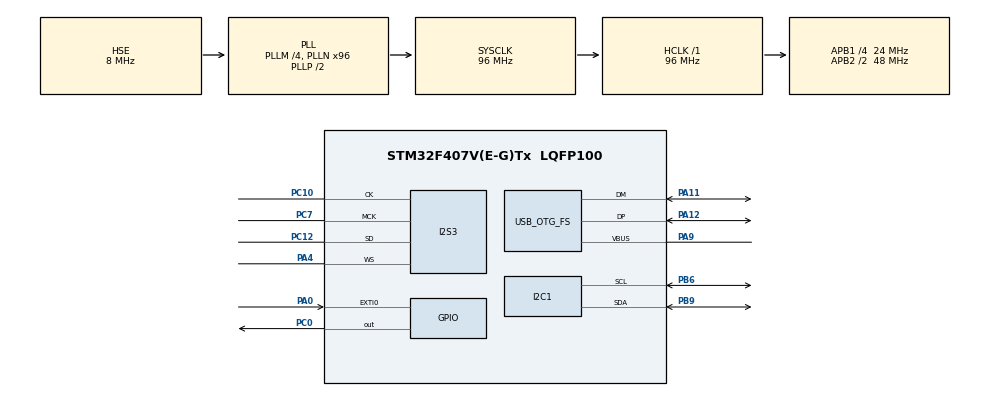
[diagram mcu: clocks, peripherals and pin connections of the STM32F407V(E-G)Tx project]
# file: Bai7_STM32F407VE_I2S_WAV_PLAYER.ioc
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Mcu.Family=STM32F4
Dma.SPI3_TX.0.FIFOMode=DMA_FIFOMODE_ENABLE
Dma.SPI3_TX.0.Priority=DMA_PRIORITY_LOW
Dma.SPI3_TX.0.MemInc=DMA_MINC_ENABLE
PH0-OSC_IN.Signal=RCC_OSC_IN
RCC.CortexFreq_Value=96000000
FATFS._USE_LFN=1
PC10.Signal=I2S3_CK
PC12.Signal=I2S3_SD
PA11.Mode=Host_Only
Dma.SPI3_TX.0.PeriphDataAlignment=DMA_PDATAALIGN_HALFWORD
RCC.SYSCLKSource=RCC_SYSCLKSOURCE_PLLCLK
ProjectManager.StackSize=0x400
Dma.SPI3_TX.0.FIFOThreshold=DMA_FIFO_THRESHOLD_FULL
PA12.Signal=USB_OTG_FS_DP
PA4.Mode=Half_Duplex_Master
RCC.HCLKFreq_Value=96000000
RCC.APB2TimFreq_Value=96000000
PB6.Signal=I2C1_SCL
PC7.Signal=I2S3_MCK
PB6.Mode=I2C
USB_HOST0.BSP.ip=GPIO
Dma.SPI3_TX.0.Direction=DMA_MEMORY_TO_PERIPH
RCC.AHBFreq_Value=96000000
PH0-OSC_IN.Mode=HSE-External-Oscillator
RCC.HSE_VALUE=8000000
USB_OTG_FS.phy_itface=HCD_PHY_EMBEDDED
I2S3.ErrorAudioFreq=0.02 %
PA14.Mode=Serial_Wire
Dma.SPI3_TX.0.MemDataAlignment=DMA_MDATAALIGN_HALFWORD
PH1-OSC_OUT.Mode=HSE-External-Oscillator
USB_HOST0.BSP.i2caddr=0
Mcu.Package=LQFP100
PB9.Signal=I2C1_SDA
NVIC.OTG_FS_IRQn=true\:0\:0\:false\:false\:true\:false\:true
USB_OTG_FS.VirtualMode=Host_Only
USB_HOST0.BSP.name=Drive_VBUS_FS
RCC.APB2CLKDivider=RCC_HCLK_DIV2
RCC.APB1TimFreq_Value=48000000
Dma.Request0=SPI3_TX
I2S3.FullDuplexMode=I2S_FULLDUPLEXMODE_DISABLE
VP_USB_HOST_VS_USB_HOST_MSC_FS.Mode=MSC_FS
USB_HOST0.BSP.solution=PC0
PC10.Mode=Half_Duplex_Master
USB_HOST.BSP.number=1
PC0.Signal=GPIO_Output
RCC.APB1CLKDivider=RCC_HCLK_DIV4
USB_HOST.USBH_HandleTypeDef-MSC_FS=hUsbHostFS
PA0-WKUP.Signal=GPXTI0
USB_HOST0.BSP.STBoard=false
PA13.Signal=SYS_JTMS-SWDIO
Dma.SPI3_TX.0.PeriphBurst=DMA_PBURST_SINGLE
PA9.Mode=Activate_VBUS
ProjectManager.TargetToolchain=MDK-ARM V5
NVIC.DMA1_Stream5_IRQn=true\:0\:0\:false\:false\:true\:false\:true
PB9.Mode=I2C
PA9.Signal=USB_OTG_FS_VBUS
I2S3.VirtualMode=I2S_MODE_MASTER
Dma.SPI3_TX.0.PeriphInc=DMA_PINC_DISABLE
RCC.LSE_VALUE=32768
I2S3.AudioFreq=I2S_AUDIOFREQ_44K
PC12.Mode=Half_Duplex_Master
board=custom
RCC.VCOOutputFreq_Value=192000000
USB_HOST.VirtualModeFS=Msc
RCC.APB2Freq_Value=48000000
USB_HOST0.BSP.api=Unknown
PH1-OSC_OUT.Signal=RCC_OSC_OUT
Dma.SPI3_TX.0.Instance=DMA1_Stream5
PA13.Mode=Serial_Wire
Mcu.Name=STM32F407V(E-G)Tx
RCC.48MHZClocksFreq_Value=48000000
NVIC.EXTI0_IRQn=true\:0\:0\:false\:false\:true\:true\:true
PA4.Signal=I2S3_WS
RCC.SYSCLKFreq_VALUE=96000000
PA12.Mode=Host_Only
Dma.SPI3_TX.0.Mode=DMA_CIRCULAR
PA11.Signal=USB_OTG_FS_DM
PA14.Signal=SYS_JTCK-SWCLK
ProjectManager.HeapSize=0x200
VP_FATFS_VS_USB.Mode=USB
RCC.HSI_VALUE=16000000
NVIC.PriorityGroup=NVIC_PRIORITYGROUP_4
I2S3.RealAudioFreq=44.108 KHz
RCC.PLLM=4
RCC.PLLN=96
PA0-WKUP.GPIO_PuPd=GPIO_PULLDOWN
Dma.SPI3_TX.0.MemBurst=DMA_MBURST_SINGLE
I2S3.Instance=SPI$Index
PC7.Mode=Master_Clock_Activated
RCC.APB1Freq_Value=24000000
USB_HOST0.BSP.mode=Output
RCC.PLLI2SN=271
USB_HOST0.BSP.instance=PC0

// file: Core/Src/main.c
/* USER CODE BEGIN Header */
/**
  ******************************************************************************
  * @file           : main.c
  * @brief          : Main program body
  ******************************************************************************
  * @attention
  *
  * <h2><center>&copy; Copyright (c) 2022 STMicroelectronics.
  * All rights reserved.</center></h2>
  *
  * This software component is licensed by ST under Ultimate Liberty license
  * SLA0044, the "License"; You may not use this file except in compliance with
  * the License. You may obtain a copy of the License at:
  *                             www.st.com/SLA0044
  *
  ******************************************************************************
  */
/* USER CODE END Header */
#include "main.h"
#include "fatfs.h"
#include "usb_host.h"

/* USER CODE BEGIN Includes */
#include <string.h>
/* USER CODE END Includes */

/* USER CODE BEGIN PD */
#define CS43L22_ADDR      0x94      /* dia chi I2C (8 bit) cua CS43L22 */
#define AUDIO_BUF_SIZE    4096      /* so mau 16 bit trong buffer DMA */
#define WAV_FILE_NAME     "music.wav"

#define PLAY_IDLE         0
#define PLAY_RUNNING      1
#define PLAY_DONE         2
/* USER CODE END PD */

I2C_HandleTypeDef hi2c1;

I2S_HandleTypeDef hi2s3;
DMA_HandleTypeDef hdma_spi3_tx;

/* USER CODE BEGIN PV */
extern ApplicationTypeDef Appli_state;

int16_t audio_buf[AUDIO_BUF_SIZE];
volatile uint8_t half_done = 0;     /* DMA da phat xong nua dau buffer */
volatile uint8_t full_done = 0;     /* DMA da phat xong nua sau buffer */
uint8_t play_state = PLAY_IDLE;
uint32_t data_remain = 0;           /* so byte am thanh con lai trong file */
/* USER CODE END PV */

void SystemClock_Config(void);
static void MX_GPIO_Init(void);
static void MX_DMA_Init(void);
static void MX_I2C1_Init(void);
static void MX_I2S3_Init(void);
void MX_USB_HOST_Process(void);

/* USER CODE BEGIN 0 */
/* Ghi 1 thanh ghi cua CS43L22 qua I2C */
static void CS43L22_Write(uint8_t reg, uint8_t value)
{
  uint8_t data[2] = {reg, value};
  HAL_I2C_Master_Transmit(&hi2c1, CS43L22_ADDR, data, 2, 100);
}

/* Dat am luong 0 - 100 (%) */
static void CS43L22_SetVolume(uint8_t volume)
{
  uint8_t vol = (uint8_t)((volume * 255) / 100);

  /* Thanh ghi Master Volume: 0x19 = -102dB ... 0xFF = -0.5dB, 0x00 = 0dB */
  if (vol > 0xE6)
  {
    vol = vol - 0xE7;
  }
  else
  {
    vol = vol + 0x19;
  }
  CS43L22_Write(0x20, vol);   /* Master Volume kenh A */
  CS43L22_Write(0x21, vol);   /* Master Volume kenh B */
}

static void CS43L22_Init(uint8_t volume)
{
  /* Keo chan RESET (PD4) len 1 de CS43L22 hoat dong */
  HAL_GPIO_WritePin(GPIOD, GPIO_PIN_4, GPIO_PIN_SET);
  HAL_Delay(10);

  CS43L22_Write(0x02, 0x01);  /* Power Ctl 1: tat codec trong luc cau hinh */
  CS43L22_Write(0x04, 0xAF);  /* Power Ctl 2: bat tai nghe, tat loa */
  CS43L22_Write(0x05, 0x81);  /* Clocking: tu nhan dien toc do MCLK */
  CS43L22_Write(0x06, 0x04);  /* Interface: slave, chuan I2S Philips, 16 bit */
  CS43L22_SetVolume(volume);
  CS43L22_Write(0x0A, 0x00);  /* Analog ZC and SR: tat */
  CS43L22_Write(0x27, 0x00);  /* Limiter: tat */
  CS43L22_Write(0x1F, 0x0F);  /* Tone: bass, treble mac dinh */
  CS43L22_Write(0x1A, 0x0A);  /* PCM volume kenh A */
  CS43L22_Write(0x1B, 0x0A);  /* PCM volume kenh B */
  CS43L22_Write(0x0E, 0x06);  /* Misc Ctl: bat digital soft ramp */
  CS43L22_Write(0x02, 0x9E);  /* Power Ctl 1: bat codec */
}

static uint32_t Read_LE32(const uint8_t *p)
{
  return p[0] | (p[1] << 8) | (p[2] << 16) | ((uint32_t)p[3] << 24);
}

/* Mo file WAV, kiem tra dinh dang, dua con tro file toi dau du lieu am thanh */
static uint8_t WAV_Open(const char *name)
{
  uint8_t header[12];
  uint8_t chunk[8];
  uint8_t fmt[16];
  uint32_t size;
  UINT br;

  if (f_open(&USBHFile, name, FA_READ) != FR_OK)
  {
    return 0;
  }
  f_read(&USBHFile, header, 12, &br);
  if (memcmp(header, "RIFF", 4) != 0 || memcmp(&header[8], "WAVE", 4) != 0)
  {
    f_close(&USBHFile);
    return 0;
  }

  /* Duyet qua cac chunk cho toi khi gap chunk "data" */
  while (1)
  {
    if (f_read(&USBHFile, chunk, 8, &br) != FR_OK || br < 8)
    {
      f_close(&USBHFile);
      return 0;
    }
    size = Read_LE32(&chunk[4]);

    if (memcmp(chunk, "fmt ", 4) == 0)
    {
      f_read(&USBHFile, fmt, 16, &br);
      /* Chi ho tro WAV 2 kenh, 44100Hz, 16 bit */
      if (fmt[2] != 2 || Read_LE32(&fmt[4]) != 44100 || fmt[14] != 16)
      {
        f_close(&USBHFile);
        return 0;
      }
      f_lseek(&USBHFile, f_tell(&USBHFile) + size - 16);
    }
    else if (memcmp(chunk, "data", 4) == 0)
    {
      data_remain = size;
      return 1;
    }
    else
    {
      f_lseek(&USBHFile, f_tell(&USBHFile) + size);   /* bo qua chunk khac */
    }
  }
}

/* Doc tiep du lieu tu file vao buffer, het file thi dien 0 (im lang) */
static void WAV_Fill(int16_t *dst, uint32_t bytes)
{
  UINT br = 0;
  uint32_t n = (data_remain < bytes) ? data_remain : bytes;

  if (n > 0)
  {
    f_read(&USBHFile, dst, n, &br);
  }
  data_remain -= br;
  if (br < bytes)
  {
    memset((uint8_t *)dst + br, 0, bytes - br);
  }
}
/* USER CODE END 0 */

int main(void)
{

  /* MCU Configuration--------------------------------------------------------*/

  /* Reset of all peripherals, Initializes the Flash interface and the Systick. */
  HAL_Init();

  /* Configure the system clock */
  SystemClock_Config();

  /* Initialize all configured peripherals */
  MX_GPIO_Init();
  MX_DMA_Init();
  MX_I2C1_Init();
  MX_I2S3_Init();
  MX_FATFS_Init();
  MX_USB_HOST_Init();
  /* USER CODE BEGIN 2 */
  GPIO_InitTypeDef gpio = {0};

  /* PD4 noi voi chan RESET cua CS43L22 */
  __HAL_RCC_GPIOD_CLK_ENABLE();
  gpio.Pin = GPIO_PIN_4;
  gpio.Mode = GPIO_MODE_OUTPUT_PP;
  gpio.Pull = GPIO_NOPULL;
  gpio.Speed = GPIO_SPEED_FREQ_LOW;
  HAL_GPIO_Init(GPIOD, &gpio);

  CS43L22_Init(70);
  /* USER CODE END 2 */

  /* Infinite loop */
  while (1)
  {
    MX_USB_HOST_Process();

    /* USER CODE BEGIN 3 */
    /* USB da san sang: mount, mo file WAV va bat dau phat */
    if (Appli_state == APPLICATION_READY && play_state == PLAY_IDLE)
    {
      play_state = PLAY_DONE;
      if (f_mount(&USBHFatFS, USBHPath, 1) == FR_OK && WAV_Open(WAV_FILE_NAME))
      {
        WAV_Fill(audio_buf, sizeof(audio_buf));
        HAL_I2S_Transmit_DMA(&hi2s3, (uint16_t *)audio_buf, AUDIO_BUF_SIZE);
        play_state = PLAY_RUNNING;
      }
    }

    if (play_state == PLAY_RUNNING)
    {
      /* DMA dang phat nua nay thi nap du lieu moi vao nua kia */
      if (half_done)
      {
        half_done = 0;
        WAV_Fill(&audio_buf[0], sizeof(audio_buf) / 2);
      }
      if (full_done)
      {
        full_done = 0;
        WAV_Fill(&audio_buf[AUDIO_BUF_SIZE / 2], sizeof(audio_buf) / 2);
      }
      if (data_remain == 0)
      {
        HAL_I2S_DMAStop(&hi2s3);
        f_close(&USBHFile);
        play_state = PLAY_DONE;
      }
    }

    /* Rut USB ra: dung phat, cho cam lai */
    if (Appli_state == APPLICATION_DISCONNECT)
    {
      if (play_state == PLAY_RUNNING)
      {
        HAL_I2S_DMAStop(&hi2s3);
      }
      f_mount(NULL, USBHPath, 0);
      play_state = PLAY_IDLE;
      Appli_state = APPLICATION_IDLE;
    }
  }
  /* USER CODE END 3 */
}

void SystemClock_Config(void)
{
  RCC_OscInitTypeDef RCC_OscInitStruct = {0};
  RCC_ClkInitTypeDef RCC_ClkInitStruct = {0};
  RCC_PeriphCLKInitTypeDef PeriphClkInitStruct = {0};

  /** Configure the main internal regulator output voltage
  */
  __HAL_RCC_PWR_CLK_ENABLE();
  __HAL_PWR_VOLTAGESCALING_CONFIG(PWR_REGULATOR_VOLTAGE_SCALE1);
  /** Initializes the RCC Oscillators according to the specified parameters
  * in the RCC_OscInitTypeDef structure.
  */
  RCC_OscInitStruct.OscillatorType = RCC_OSCILLATORTYPE_HSE;
  RCC_OscInitStruct.HSEState = RCC_HSE_ON;
  RCC_OscInitStruct.PLL.PLLState = RCC_PLL_ON;
  RCC_OscInitStruct.PLL.PLLSource = RCC_PLLSOURCE_HSE;
  RCC_OscInitStruct.PLL.PLLM = 4;
  RCC_OscInitStruct.PLL.PLLN = 96;
  RCC_OscInitStruct.PLL.PLLP = RCC_PLLP_DIV2;
  RCC_OscInitStruct.PLL.PLLQ = 4;
  if (HAL_RCC_OscConfig(&RCC_OscInitStruct) != HAL_OK)
  {
    Error_Handler();
  }
  /** Initializes the CPU, AHB and APB buses clocks
  */
  RCC_ClkInitStruct.ClockType = RCC_CLOCKTYPE_HCLK|RCC_CLOCKTYPE_SYSCLK
                              |RCC_CLOCKTYPE_PCLK1|RCC_CLOCKTYPE_PCLK2;
  RCC_ClkInitStruct.SYSCLKSource = RCC_SYSCLKSOURCE_PLLCLK;
  RCC_ClkInitStruct.AHBCLKDivider = RCC_SYSCLK_DIV1;
  RCC_ClkInitStruct.APB1CLKDivider = RCC_HCLK_DIV4;
  RCC_ClkInitStruct.APB2CLKDivider = RCC_HCLK_DIV2;

  if (HAL_RCC_ClockConfig(&RCC_ClkInitStruct, FLASH_LATENCY_3) != HAL_OK)
  {
    Error_Handler();
  }
  PeriphClkInitStruct.PeriphClockSelection = RCC_PERIPHCLK_I2S;
  PeriphClkInitStruct.PLLI2S.PLLI2SN = 271;
  PeriphClkInitStruct.PLLI2S.PLLI2SR = 2;
  if (HAL_RCCEx_PeriphCLKConfig(&PeriphClkInitStruct) != HAL_OK)
  {
    Error_Handler();
  }
}

static void MX_I2C1_Init(void)
{

  hi2c1.Instance = I2C1;
  hi2c1.Init.ClockSpeed = 100000;
  hi2c1.Init.DutyCycle = I2C_DUTYCYCLE_2;
  hi2c1.Init.OwnAddress1 = 0;
  hi2c1.Init.AddressingMode = I2C_ADDRESSINGMODE_7BIT;
  hi2c1.Init.DualAddressMode = I2C_DUALADDRESS_DISABLE;
  hi2c1.Init.OwnAddress2 = 0;
  hi2c1.Init.GeneralCallMode = I2C_GENERALCALL_DISABLE;
  hi2c1.Init.NoStretchMode = I2C_NOSTRETCH_DISABLE;
  if (HAL_I2C_Init(&hi2c1) != HAL_OK)
  {
    Error_Handler();
  }

}

static void MX_I2S3_Init(void)
{

  hi2s3.Instance = SPI3;
  hi2s3.Init.Mode = I2S_MODE_MASTER_TX;
  hi2s3.Init.Standard = I2S_STANDARD_PHILIPS;
  hi2s3.Init.DataFormat = I2S_DATAFORMAT_16B;
  hi2s3.Init.MCLKOutput = I2S_MCLKOUTPUT_ENABLE;
  hi2s3.Init.AudioFreq = I2S_AUDIOFREQ_44K;
  hi2s3.Init.CPOL = I2S_CPOL_LOW;
  hi2s3.Init.ClockSource = I2S_CLOCK_PLL;
  hi2s3.Init.FullDuplexMode = I2S_FULLDUPLEXMODE_DISABLE;
  if (HAL_I2S_Init(&hi2s3) != HAL_OK)
  {
    Error_Handler();
  }

}

static void MX_DMA_Init(void)
{

  /* DMA controller clock enable */
  __HAL_RCC_DMA1_CLK_ENABLE();

  /* DMA interrupt init */
  /* DMA1_Stream5_IRQn interrupt configuration */
  HAL_NVIC_SetPriority(DMA1_Stream5_IRQn, 0, 0);
  HAL_NVIC_EnableIRQ(DMA1_Stream5_IRQn);

}

static void MX_GPIO_Init(void)
{
  GPIO_InitTypeDef GPIO_InitStruct = {0};

  /* GPIO Ports Clock Enable */
  __HAL_RCC_GPIOH_CLK_ENABLE();
  __HAL_RCC_GPIOC_CLK_ENABLE();
  __HAL_RCC_GPIOA_CLK_ENABLE();
  __HAL_RCC_GPIOB_CLK_ENABLE();

  /*Configure GPIO pin Output Level */
  HAL_GPIO_WritePin(GPIOC, GPIO_PIN_0, GPIO_PIN_RESET);

  /*Configure GPIO pin : PC0 */
  GPIO_InitStruct.Pin = GPIO_PIN_0;
  GPIO_InitStruct.Mode = GPIO_MODE_OUTPUT_PP;
  GPIO_InitStruct.Pull = GPIO_NOPULL;
  GPIO_InitStruct.Speed = GPIO_SPEED_FREQ_LOW;
  HAL_GPIO_Init(GPIOC, &GPIO_InitStruct);

  /*Configure GPIO pin : PA0 */
  GPIO_InitStruct.Pin = GPIO_PIN_0;
  GPIO_InitStruct.Mode = GPIO_MODE_IT_RISING;
  GPIO_InitStruct.Pull = GPIO_PULLDOWN;
  HAL_GPIO_Init(GPIOA, &GPIO_InitStruct);

  /* EXTI interrupt init*/
  HAL_NVIC_SetPriority(EXTI0_IRQn, 0, 0);
  HAL_NVIC_EnableIRQ(EXTI0_IRQn);

}

/* USER CODE BEGIN 4 */
void HAL_I2S_TxHalfCpltCallback(I2S_HandleTypeDef *hi2s)
{
  if (hi2s->Instance == SPI3)
  {
    half_done = 1;
  }
}

void HAL_I2S_TxCpltCallback(I2S_HandleTypeDef *hi2s)
{
  if (hi2s->Instance == SPI3)
  {
    full_done = 1;
  }
}
/* USER CODE END 4 */

void Error_Handler(void)
{
  __disable_irq();
  while (1)
  {
  }
}

/************************ (C) COPYRIGHT STMicroelectronics *****END OF FILE****/
